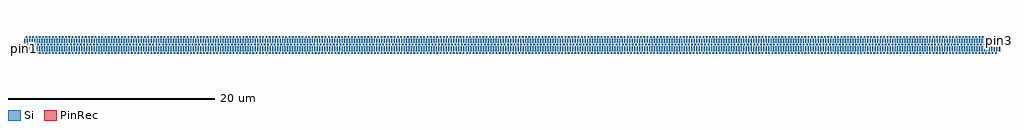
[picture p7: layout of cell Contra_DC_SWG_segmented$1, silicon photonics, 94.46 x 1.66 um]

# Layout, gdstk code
import gdstk
lib = gdstk.Library(unit=1e-6, precision=1e-09)
def R(c, l, rs):  # rectangles x0, y0, x1, y1
    for r in rs: c.add(gdstk.rectangle(r[:2], r[2:], *l))
def A(c, l, x, y, w, h, nx, ny, dx, dy):  # array of equal rectangles
    R(c, l, [(x+i*dx, y+j*dy, x+i*dx+w, y+j*dy+h) for i in range(nx) for j in range(ny)])
Si = (1, 0)
PinRec = (1, 10)

contra_dc_swg_segmented_ = lib.new_cell('Contra_DC_SWG_segmented$1')
A(contra_dc_swg_segmented_, Si, 0.099, -0.47, 0.159, 0.12, 296, 2, 0.318, 1.54)
A(contra_dc_swg_segmented_, Si, -0.06, -0.25, 0.12, 0.5, 394, 1, 0.24, 0)
A(contra_dc_swg_segmented_, Si, -0.06, 0.35, 0.159, 0.12, 297, 1, 0.318, 0)
A(contra_dc_swg_segmented_, Si, -0.06, 0.57, 0.12, 0.4, 394, 1, 0.24, 0)
contra_dc_swg_segmented_.add(gdstk.FlexPath([(-0.05,0),(-0.07,0)], 0.5, ends="flush", simple_path=True, layer=1, datatype=10))  # PinRec
contra_dc_swg_segmented_.add(gdstk.FlexPath([(-0.05,0.77),(-0.07,0.77)], 0.4, ends="flush", simple_path=True, layer=1, datatype=10))  # PinRec
contra_dc_swg_segmented_.add(gdstk.FlexPath([(94.37,0.77),(94.39,0.77)], 0.4, ends="flush", simple_path=True, layer=1, datatype=10))  # PinRec
contra_dc_swg_segmented_.add(gdstk.FlexPath([(94.37,0),(94.39,0)], 0.5, ends="flush", simple_path=True, layer=1, datatype=10))  # PinRec
contra_dc_swg_segmented_.add(gdstk.Label('pin1', (-0.06,0), layer=1, texttype=10))
contra_dc_swg_segmented_.add(gdstk.Label('pin2', (-0.06,0.77), layer=1, texttype=10))
contra_dc_swg_segmented_.add(gdstk.Label('pin3', (94.38,0.77), layer=1, texttype=10))
contra_dc_swg_segmented_.add(gdstk.Label('pin4', (94.38,0), layer=1, texttype=10))

lib.write_gds('Contra_DC_SWG_segmented_1.gds')
